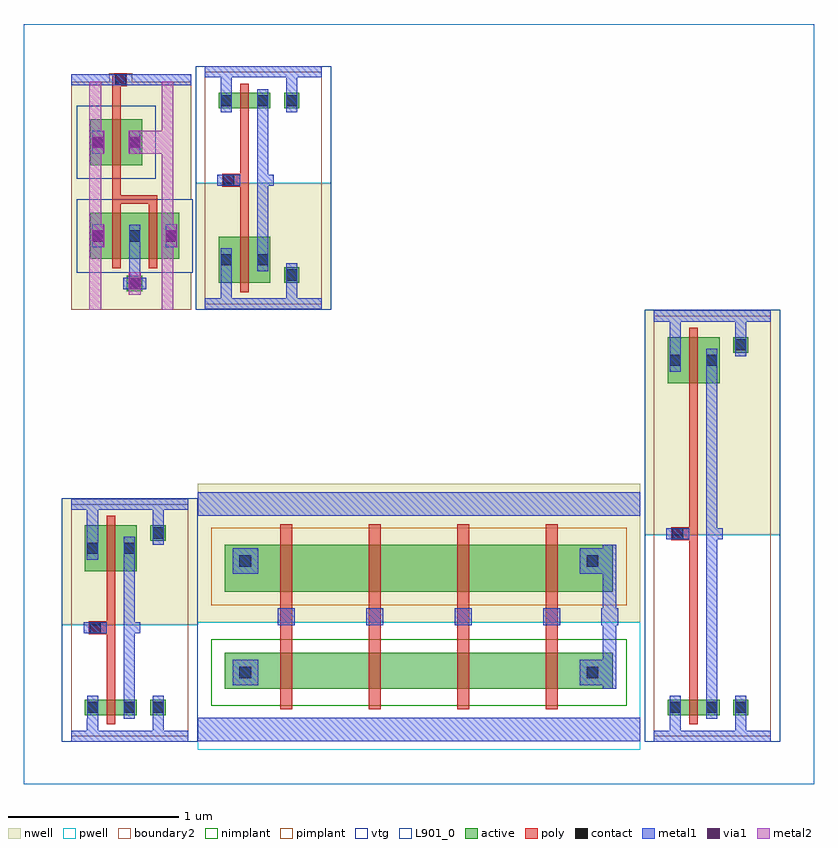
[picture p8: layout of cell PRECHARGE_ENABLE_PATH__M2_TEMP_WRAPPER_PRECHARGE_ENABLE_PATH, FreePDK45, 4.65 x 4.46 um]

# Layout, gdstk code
import gdstk
lib = gdstk.Library(unit=1e-6, precision=1e-09)
def R(c, l, rs):  # rectangles x0, y0, x1, y1
    for r in rs: c.add(gdstk.rectangle(r[:2], r[2:], *l))
def A(c, l, x, y, w, h, nx, ny, dx, dy):  # array of equal rectangles
    R(c, l, [(x+i*dx, y+j*dy, x+i*dx+w, y+j*dy+h) for i in range(nx) for j in range(ny)])
active = (1, 0)
pwell = (2, 0)
nwell = (3, 0)
nimplant = (4, 0)
pimplant = (5, 0)
vtg = (6, 0)
poly = (9, 0)
contact = (10, 0)
metal1 = (11, 0)
via1 = (12, 0)
metal2 = (13, 0)
boundary2 = (239, 0)
L901_0 = (901, 0)

precharge_enable_path__p = lib.new_cell('PRECHARGE_ENABLE_PATH__PRECHARGE_ENABLE_PATH__sram_1rw_32x16_freepdk45_contact_11')
R(precharge_enable_path__p, active, [(0,0.022,0.09,0.112)])
R(precharge_enable_path__p, nwell, [(-0.055,-0.033,0.145,0.168)])
R(precharge_enable_path__p, pimplant, [(0,0.022,0.09,0.112)])
R(precharge_enable_path__p, contact, [(0.013,0.035,0.077,0.1)])
R(precharge_enable_path__p, metal1, [(0.013,0,0.077,0.135)])
R(precharge_enable_path__p, boundary2, [(-0.055,-0.033,0.145,0.168)])

c_precharge_enable_path__p = lib.new_cell('PRECHARGE_ENABLE_PATH__PRECHARGE_ENABLE_PATH__sram_1rw_32x16_freepdk45_pmos_m1_w0_270_sm1_dm1_da_p')
R(c_precharge_enable_path__p, active, [(0,0,0.305,0.27)])
R(c_precharge_enable_path__p, nwell, [(-0.08,-0.08,0.385,0.35)])
R(c_precharge_enable_path__p, pimplant, [(0,0,0.305,0.27)])
R(c_precharge_enable_path__p, vtg, [(-0.08,-0.08,0.385,0.35)])
R(c_precharge_enable_path__p, poly, [(0.127,-0.055,0.177,0.325), (0.127,-0.055,0.177,0.325)])
R(c_precharge_enable_path__p, metal1, [(0.013,0.068,0.077,0.203), (0.227,0.068,0.292,0.203)])
R(c_precharge_enable_path__p, boundary2, [(-0.08,-0.08,0.385,0.35)])
c_precharge_enable_path__p.add(gdstk.Reference(precharge_enable_path__p, (0,0.068)))
c_precharge_enable_path__p.add(gdstk.Reference(precharge_enable_path__p, (0.215,0.068)))
c_precharge_enable_path__p.add(gdstk.Label('G', (0.152,0.135), layer=9, texttype=0))
c_precharge_enable_path__p.add(gdstk.Label('S', (0.045,0.135), layer=11, texttype=0))
c_precharge_enable_path__p.add(gdstk.Label('D', (0.26,0.135), layer=11, texttype=0))

c_precharge_enable_path__p_ = lib.new_cell('PRECHARGE_ENABLE_PATH__PRECHARGE_ENABLE_PATH__sram_1rw_32x16_freepdk45_contact_10')
R(c_precharge_enable_path__p_, active, [(0,0.022,0.09,0.112)])
R(c_precharge_enable_path__p_, pwell, [(-0.055,-0.033,0.145,0.168)])
R(c_precharge_enable_path__p_, nimplant, [(0,0.022,0.09,0.112)])
R(c_precharge_enable_path__p_, contact, [(0.013,0.035,0.077,0.1)])
R(c_precharge_enable_path__p_, metal1, [(0.013,0,0.077,0.135)])
R(c_precharge_enable_path__p_, boundary2, [(-0.055,-0.033,0.145,0.168)])

c_precharge_enable_path__p__ = lib.new_cell('PRECHARGE_ENABLE_PATH__PRECHARGE_ENABLE_PATH__sram_1rw_32x16_freepdk45_nmos_m1_w0_090_sm1_dm1_da_p')
R(c_precharge_enable_path__p__, active, [(0,0,0.305,0.09)])
R(c_precharge_enable_path__p__, pwell, [(-0.08,-0.08,0.385,0.17)])
R(c_precharge_enable_path__p__, nimplant, [(0,0,0.305,0.09)])
R(c_precharge_enable_path__p__, vtg, [(-0.08,-0.08,0.385,0.17)])
R(c_precharge_enable_path__p__, poly, [(0.127,-0.055,0.177,0.145), (0.127,-0.055,0.177,0.145)])
R(c_precharge_enable_path__p__, metal1, [(0.013,-0.022,0.077,0.112), (0.227,-0.022,0.292,0.112)])
R(c_precharge_enable_path__p__, boundary2, [(-0.08,-0.08,0.385,0.17)])
c_precharge_enable_path__p__.add(gdstk.Reference(c_precharge_enable_path__p_, (0,-0.022)))
c_precharge_enable_path__p__.add(gdstk.Reference(c_precharge_enable_path__p_, (0.215,-0.022)))
c_precharge_enable_path__p__.add(gdstk.Label('G', (0.152,0.045), layer=9, texttype=0))
c_precharge_enable_path__p__.add(gdstk.Label('S', (0.045,0.045), layer=11, texttype=0))
c_precharge_enable_path__p__.add(gdstk.Label('D', (0.26,0.045), layer=11, texttype=0))

c_precharge_enable_path__p___ = lib.new_cell('PRECHARGE_ENABLE_PATH__PRECHARGE_ENABLE_PATH__sram_1rw_32x16_freepdk45_contact_12')
R(c_precharge_enable_path__p___, active, [(0,0.022,0.09,0.112)])
R(c_precharge_enable_path__p___, nwell, [(-0.055,-0.033,0.145,0.168)])
R(c_precharge_enable_path__p___, nimplant, [(0,0.022,0.09,0.112)])
R(c_precharge_enable_path__p___, contact, [(0.013,0.035,0.077,0.1)])
R(c_precharge_enable_path__p___, metal1, [(0.013,0,0.077,0.135)])
R(c_precharge_enable_path__p___, boundary2, [(-0.055,-0.033,0.145,0.168)])

c_precharge_enable_path__p____ = lib.new_cell('PRECHARGE_ENABLE_PATH__PRECHARGE_ENABLE_PATH__sram_1rw_32x16_freepdk45_contact_13')
R(c_precharge_enable_path__p____, active, [(0,0.022,0.09,0.112)])
R(c_precharge_enable_path__p____, pwell, [(-0.055,-0.033,0.145,0.168)])
R(c_precharge_enable_path__p____, pimplant, [(0,0.022,0.09,0.112)])
R(c_precharge_enable_path__p____, contact, [(0.013,0.035,0.077,0.1)])
R(c_precharge_enable_path__p____, metal1, [(0.013,0,0.077,0.135)])
R(c_precharge_enable_path__p____, boundary2, [(-0.055,-0.033,0.145,0.168)])

c_precharge_enable_path__p_____ = lib.new_cell('PRECHARGE_ENABLE_PATH__PRECHARGE_ENABLE_PATH__sram_1rw_32x16_freepdk45_contact_14')
R(c_precharge_enable_path__p_____, poly, [(0.03,0,0.105,0.075)])
R(c_precharge_enable_path__p_____, contact, [(0.035,0.005,0.1,0.07)])
R(c_precharge_enable_path__p_____, metal1, [(0,0.005,0.135,0.07)])
R(c_precharge_enable_path__p_____, boundary2, [(0,0,0.135,0.075)])

c_precharge_enable_path__p______ = lib.new_cell('PRECHARGE_ENABLE_PATH__PRECHARGE_ENABLE_PATH__gen_inv')
R(c_precharge_enable_path__p______, pwell, [(-0.055,-0.033,0.743,0.655)])
R(c_precharge_enable_path__p______, nwell, [(-0.055,0.655,0.743,1.4)])
R(c_precharge_enable_path__p______, vtg, [(-0.055,-0.033,0.743,0.655), (-0.055,0.655,0.743,1.4)])
R(c_precharge_enable_path__p______, poly, [(0.208,0.27,0.258,0.915), (0.14,0.6,0.208,0.675)])
R(c_precharge_enable_path__p______, metal1, [(0,-0.033,0.687,0.033), (0.092,-0.033,0.157,0.103), (0.478,0,0.542,0.17), (0.307,0.103,0.372,1.173), (0.072,0.605,0.208,0.67), (0.34,0.605,0.405,0.67), (0.092,1.038,0.157,1.397), (0.478,1.195,0.542,1.365), (0,1.332,0.687,1.397)])
R(c_precharge_enable_path__p______, boundary2, [(0,0,0.687,1.365), (0,0,0.687,1.365)])
c_precharge_enable_path__p______.add(gdstk.Reference(c_precharge_enable_path__p, (0.08,0.97)))
c_precharge_enable_path__p______.add(gdstk.Reference(c_precharge_enable_path__p__, (0.08,0.125)))
c_precharge_enable_path__p______.add(gdstk.Reference(c_precharge_enable_path__p___, (0.465,1.127)))
c_precharge_enable_path__p______.add(gdstk.Reference(c_precharge_enable_path__p____, (0.465,0.103)))
c_precharge_enable_path__p______.add(gdstk.Reference(c_precharge_enable_path__p_____, (0.072,0.6)))
c_precharge_enable_path__p______.add(gdstk.Label('A', (0.14,0.638), layer=11, texttype=0))
c_precharge_enable_path__p______.add(gdstk.Label('Z', (0.372,0.638), layer=11, texttype=0))
c_precharge_enable_path__p______.add(gdstk.Label('gnd', (0.345,0), layer=11, texttype=0))
c_precharge_enable_path__p______.add(gdstk.Label('vdd', (0.345,1.365), layer=11, texttype=0))

c_precharge_enable_path__p_______ = lib.new_cell('PRECHARGE_ENABLE_PATH__PRECHARGE_ENABLE_PATH__gen_nand4')
R(c_precharge_enable_path__p_______, active, [(0.16,0.36,2.44,0.57), (0.16,0.93,2.44,1.205)])
R(c_precharge_enable_path__p_______, pwell, [(0,0,2.6,0.75)])
R(c_precharge_enable_path__p_______, nwell, [(0,0.75,2.6,1.565)])
R(c_precharge_enable_path__p_______, nimplant, [(0.08,0.26,2.52,0.65)])
R(c_precharge_enable_path__p_______, pimplant, [(0.08,0.85,2.52,1.305)])
A(c_precharge_enable_path__p_______, poly, 0.485, 0.24, 0.07, 1.085, 4, 1, 0.52, 0)
R(c_precharge_enable_path__p_______, contact, [(0.245,0.42,0.315,0.49), (2.285,0.42,2.355,0.49), (0.245,1.075,0.315,1.145), (2.285,1.075,2.355,1.145)])
A(c_precharge_enable_path__p_______, metal1, 0.47, 0.733, 0.1, 0.099, 4, 1, 0.52, 0)
R(c_precharge_enable_path__p_______, metal1, [(0,0.05,2.6,0.19), (1.25,0.07,1.35,0.17), (2.38,0.36,2.46,1.205), (0.205,0.38,0.355,0.53), (2.245,0.38,2.395,0.53), (2.37,0.733,2.47,0.832), (0.205,1.035,0.355,1.185), (2.245,1.035,2.395,1.185), (0,1.375,2.6,1.515), (1.25,1.395,1.35,1.495)])

c_precharge_enable_path__p________ = lib.new_cell('PRECHARGE_ENABLE_PATH__PRECHARGE_ENABLE_PATH__gen_delay_inv')
R(c_precharge_enable_path__p________, pwell, [(-0.055,-0.033,0.743,1.185)])
R(c_precharge_enable_path__p________, nwell, [(-0.055,1.185,0.743,2.505)])
R(c_precharge_enable_path__p________, vtg, [(-0.055,-0.033,0.743,1.185), (-0.055,1.185,0.743,2.505)])
R(c_precharge_enable_path__p________, poly, [(0.208,0.27,0.258,2.02), (0.14,1.153,0.208,1.228)])
R(c_precharge_enable_path__p________, metal1, [(0,-0.033,0.687,0.033), (0.092,-0.033,0.157,0.103), (0.478,0,0.542,0.17), (0.307,0.103,0.372,2.277), (0.072,1.157,0.208,1.222), (0.34,1.157,0.405,1.222), (0.092,2.143,0.157,2.502), (0.478,2.3,0.542,2.47), (0,2.437,0.687,2.502)])
R(c_precharge_enable_path__p________, boundary2, [(0,0,0.687,2.47), (0,0,0.687,2.47)])
c_precharge_enable_path__p________.add(gdstk.Reference(c_precharge_enable_path__p, (0.08,2.075)))
c_precharge_enable_path__p________.add(gdstk.Reference(c_precharge_enable_path__p__, (0.08,0.125)))
c_precharge_enable_path__p________.add(gdstk.Reference(c_precharge_enable_path__p___, (0.465,2.232)))
c_precharge_enable_path__p________.add(gdstk.Reference(c_precharge_enable_path__p____, (0.465,0.103)))
c_precharge_enable_path__p________.add(gdstk.Reference(c_precharge_enable_path__p_____, (0.072,1.153)))
c_precharge_enable_path__p________.add(gdstk.Label('A', (0.14,1.19), layer=11, texttype=0))
c_precharge_enable_path__p________.add(gdstk.Label('Z', (0.372,1.19), layer=11, texttype=0))
c_precharge_enable_path__p________.add(gdstk.Label('gnd', (0.345,0), layer=11, texttype=0))
c_precharge_enable_path__p________.add(gdstk.Label('vdd', (0.345,2.47), layer=11, texttype=0))

c_precharge_enable_path__p_________ = lib.new_cell('PRECHARGE_ENABLE_PATH__PRECHARGE_ENABLE_PATH__sram_1rw_32x16_freepdk45_contact_11__gen_nand2')
R(c_precharge_enable_path__p_________, active, [(0,0.022,0.09,0.112)])
R(c_precharge_enable_path__p_________, nwell, [(-0.055,-0.033,0.145,0.168)])
R(c_precharge_enable_path__p_________, pimplant, [(0,0.022,0.09,0.112)])
R(c_precharge_enable_path__p_________, contact, [(0.013,0.035,0.077,0.1)])
R(c_precharge_enable_path__p_________, metal1, [(0.013,0,0.077,0.135)])
R(c_precharge_enable_path__p_________, boundary2, [(-0.055,-0.033,0.145,0.168)])

c_precharge_enable_path__p__________ = lib.new_cell('PRECHARGE_ENABLE_PATH__PRECHARGE_ENABLE_PATH__sram_1rw_32x16_freepdk45_pmos_m1_w0_270_sm1_dm1')
R(c_precharge_enable_path__p__________, active, [(0,0,0.305,0.27)])
R(c_precharge_enable_path__p__________, nwell, [(-0.08,-0.08,0.385,0.35)])
R(c_precharge_enable_path__p__________, pimplant, [(0,0,0.305,0.27)])
R(c_precharge_enable_path__p__________, vtg, [(-0.08,-0.08,0.385,0.35)])
R(c_precharge_enable_path__p__________, poly, [(0.127,-0.055,0.177,0.325), (0.127,-0.055,0.177,0.325)])
R(c_precharge_enable_path__p__________, metal1, [(0.013,0.068,0.077,0.203), (0.227,0.068,0.292,0.203)])
R(c_precharge_enable_path__p__________, boundary2, [(-0.08,-0.08,0.385,0.35)])
c_precharge_enable_path__p__________.add(gdstk.Reference(c_precharge_enable_path__p_________, (0,0.068)))
c_precharge_enable_path__p__________.add(gdstk.Reference(c_precharge_enable_path__p_________, (0.215,0.068)))
c_precharge_enable_path__p__________.add(gdstk.Label('G', (0.152,0.135), layer=9, texttype=0))
c_precharge_enable_path__p__________.add(gdstk.Label('S', (0.045,0.135), layer=11, texttype=0))
c_precharge_enable_path__p__________.add(gdstk.Label('D', (0.26,0.135), layer=11, texttype=0))

c_precharge_enable_path__p___________ = lib.new_cell('PRECHARGE_ENABLE_PATH__PRECHARGE_ENABLE_PATH__sram_1rw_32x16_freepdk45_contact_22')
R(c_precharge_enable_path__p___________, active, [(0.022,0,0.112,0.09)])
R(c_precharge_enable_path__p___________, nwell, [(-0.033,-0.055,0.168,0.145)])
R(c_precharge_enable_path__p___________, nimplant, [(0.022,0,0.112,0.09)])
R(c_precharge_enable_path__p___________, contact, [(0.035,0.013,0.1,0.077)])
R(c_precharge_enable_path__p___________, metal1, [(0,0.013,0.135,0.077)])
R(c_precharge_enable_path__p___________, boundary2, [(-0.033,-0.055,0.168,0.145)])

c_precharge_enable_path__p____________ = lib.new_cell('PRECHARGE_ENABLE_PATH__PRECHARGE_ENABLE_PATH__sram_1rw_32x16_freepdk45_contact_17')
R(c_precharge_enable_path__p____________, metal1, [(0,0.035,0.135,0.1)])
R(c_precharge_enable_path__p____________, via1, [(0.035,0.035,0.1,0.1)])
R(c_precharge_enable_path__p____________, metal2, [(0.033,0,0.103,0.135)])
R(c_precharge_enable_path__p____________, boundary2, [(0,0,0.135,0.135)])

c_precharge_enable_path__p_____________ = lib.new_cell('PRECHARGE_ENABLE_PATH__PRECHARGE_ENABLE_PATH__sram_1rw_32x16_freepdk45_contact_23')
R(c_precharge_enable_path__p_____________, metal1, [(0.002,0,0.068,0.135)])
R(c_precharge_enable_path__p_____________, via1, [(0.002,0.035,0.068,0.1)])
R(c_precharge_enable_path__p_____________, metal2, [(0,0,0.07,0.135)])
R(c_precharge_enable_path__p_____________, boundary2, [(0,0,0.07,0.135)])

c_precharge_enable_path__p______________ = lib.new_cell('PRECHARGE_ENABLE_PATH__PRECHARGE_ENABLE_PATH__gen_precharge')
R(c_precharge_enable_path__p______________, nwell, [(0,0,0.705,1.34)])
R(c_precharge_enable_path__p______________, poly, [(0.24,-0.037,0.29,0.013), (0.265,-0.037,0.29,0.013), (0.24,-0.013,0.29,0.165), (0.24,0.545,0.29,0.715), (0.24,0.665,0.505,0.715)])
R(c_precharge_enable_path__p______________, metal1, [(0,-0.045,0.705,0.02), (0.34,0.905,0.405,1.185), (0.34,1.153,0.405,1.218)])
R(c_precharge_enable_path__p______________, metal2, [(0.105,0,0.175,1.34), (0.105,0,0.175,1.34), (0.53,0,0.6,1.34), (0.53,0,0.6,1.34), (0.14,0.288,0.157,0.422), (0.372,0.288,0.565,0.422), (0.14,0.837,0.157,0.972), (0.565,0.837,0.588,0.972)])
R(c_precharge_enable_path__p______________, boundary2, [(0,0,0.705,1.34)])
c_precharge_enable_path__p______________.add(gdstk.Reference(c_precharge_enable_path__p__________, (0.112,0.22)))
c_precharge_enable_path__p______________.add(gdstk.Reference(c_precharge_enable_path__p__________, (0.112,0.77)))
c_precharge_enable_path__p______________.add(gdstk.Reference(c_precharge_enable_path__p__________, (0.328,0.77)))
c_precharge_enable_path__p______________.add(gdstk.Reference(c_precharge_enable_path__p_____, (0.222,-0.05)))
c_precharge_enable_path__p______________.add(gdstk.Reference(c_precharge_enable_path__p___________, (0.305,1.14)))
c_precharge_enable_path__p______________.add(gdstk.Reference(c_precharge_enable_path__p____________, (0.305,1.117)))
c_precharge_enable_path__p______________.add(gdstk.Reference(c_precharge_enable_path__p_____________, (0.122,0.288)))
c_precharge_enable_path__p______________.add(gdstk.Reference(c_precharge_enable_path__p_____________, (0.338,0.288)))
c_precharge_enable_path__p______________.add(gdstk.Reference(c_precharge_enable_path__p_____________, (0.122,0.837)))
c_precharge_enable_path__p______________.add(gdstk.Reference(c_precharge_enable_path__p_____________, (0.552,0.837)))
c_precharge_enable_path__p______________.add(gdstk.Label('en_bar', (0.352,-0.013), layer=11, texttype=0))
c_precharge_enable_path__p______________.add(gdstk.Label('vdd', (0.372,1.185), layer=11, texttype=0))
c_precharge_enable_path__p______________.add(gdstk.Label('bl', (0.14,0.67), layer=13, texttype=0))
c_precharge_enable_path__p______________.add(gdstk.Label('br', (0.565,0.67), layer=13, texttype=0))

c_precharge_enable_path__p_______________ = lib.new_cell('PRECHARGE_ENABLE_PATH__PRECHARGE_ENABLE_PATH__PRECHARGE_ENABLE_PATH')
c_precharge_enable_path__p_______________.add(gdstk.Reference(c_precharge_enable_path__p______, (0.08,0.08)))
c_precharge_enable_path__p_______________.add(gdstk.Reference(c_precharge_enable_path__p_______, (0.822,0)))
c_precharge_enable_path__p_______________.add(gdstk.Reference(c_precharge_enable_path__p________, (3.503,0.08)))
c_precharge_enable_path__p_______________.add(gdstk.Reference(c_precharge_enable_path__p______________, (0.08,3.925), x_reflection=True))
c_precharge_enable_path__p_______________.add(gdstk.Reference(c_precharge_enable_path__p______, (0.865,3.985), x_reflection=True))

precharge_enable_path__m = lib.new_cell('PRECHARGE_ENABLE_PATH__M2_TEMP_WRAPPER_PRECHARGE_ENABLE_PATH')
R(precharge_enable_path__m, L901_0, [(-0.2,-0.2,4.445,4.265)])
precharge_enable_path__m.add(gdstk.Reference(c_precharge_enable_path__p_______________, (0,0)))
precharge_enable_path__m.add(gdstk.Label('TEMP_WRAPPER_FOR_M2_REVIEW', (0,4.565), layer=900, texttype=0))
precharge_enable_path__m.add(gdstk.Label('PRECHARGE_ENABLE_PATH candidate composite', (0,5.165), layer=900, texttype=0))

lib.write_gds('PRECHARGE_ENABLE_PATH__M2_TEMP_WRAPPER_PRECHARGE_ENABLE_PATH.gds')
